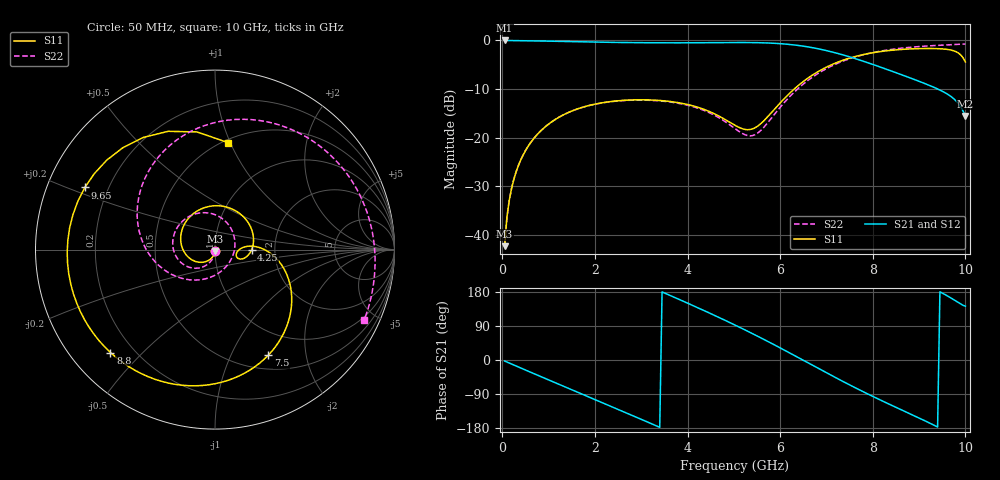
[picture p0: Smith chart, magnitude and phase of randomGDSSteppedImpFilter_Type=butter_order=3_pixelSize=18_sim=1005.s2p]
! freq	dB(S11)	phase(S11)	dB(S12)	phase(S12)
!  dB(S21)	phase(S21)	dB(S22)	phase(S22)
!S-par simulation data
#  GHz  S  DB  R 50
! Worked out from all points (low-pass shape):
!   200 points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, 50 MHz to 10 GHz, reference 50 ohm
!   highest |S21| = 0.00 dB at 50 MHz (marker M1); lowest = -15.5 dB at 10 GHz (marker M2)
!   |S21| within 3 dB of the highest: start of sweep to 7.368 GHz
!   lowest |S11| = -42.3 dB at 50 MHz (marker M3), VSWR 1.02, Z = 50 - j0.769 ohm
!   |S11| at or under -10 dB: start of sweep to 6.302 GHz
!   |S22| runs from -42.3 to -0.7 dB; largest |S21 - S12| = 0
!   S11 on the Smith chart (normalised r, x): 50 MHz: 1.00, -0.02; 4.25 GHz: 1.51, -0.01; 7.5 GHz: 0.67, -1.40; 8.8 GHz: 0.12, -0.40; 9.65 GHz: 0.11, +0.22; 10 GHz: 0.52, +0.98
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0.05  -42.27 -91.9  -0.00 -2.7  -0.00 -2.7  -42.28 -91.1
0.1  -36.35 -95.6  -0.01 -5.3  -0.01 -5.3  -36.34 -93.5
0.2  -30.42 -102.7  -0.02 -10.6  -0.02 -10.6  -30.40 -98.1
0.5  -22.67 -122.5  -0.06 -26.5  -0.06 -26.5  -22.64 -111.3
1.15  -16.20 -164.5  -0.18 -60.4  -0.18 -60.4  -16.19 -138.0
1.75  -13.69 156.5  -0.30 -91.5  -0.30 -91.5  -13.70 -161.3
2.65  -12.29 96.9  -0.43 -138.2  -0.43 -138.2  -12.34 165.1
3.4  -12.34 47.9  -0.49 -177.7  -0.49 -177.7  -12.43 135.7
4.25  -13.82 -0.5  -0.47 136.4  -0.47 136.4  -14.01 93.8
5.05  -17.57 -20.1  -0.42 90.8  -0.42 90.8  -18.29 25.4
5.45  -17.99 -4.3  -0.45 66.7  -0.45 66.7  -19.41 -41.7
6  -12.84 4.2  -0.66 32.0  -0.66 32.0  -13.74 -124.3
6.7  -7.10 -21.9  -1.49 -14.0  -1.49 -14.0  -7.53 170.1
7.1  -5.03 -42.1  -2.32 -40.2  -2.32 -40.2  -5.30 138.2
7.5  -3.62 -63.2  -3.37 -65.7  -3.37 -65.7  -3.76 108.6
7.9  -2.70 -84.6  -4.60 -90.1  -4.60 -90.1  -2.70 81.4
8.35  -2.08 -109.1  -6.10 -116.4  -6.10 -116.4  -1.91 53.6
8.8  -1.75 -135.4  -7.67 -141.8  -7.67 -141.8  -1.41 28.7
9.3  -1.66 -170.5  -9.55 -170.7  -9.55 -170.7  -1.07 4.3
9.65  -1.90 154.5  -11.26 166.4  -11.26 166.4  -0.89 -11.1
9.85  -2.59 122.6  -13.00 151.3  -13.00 151.3  -0.80 -19.3
10  -4.43 83.2  -15.54 142.0  -15.54 142.0  -0.73 -25.4
